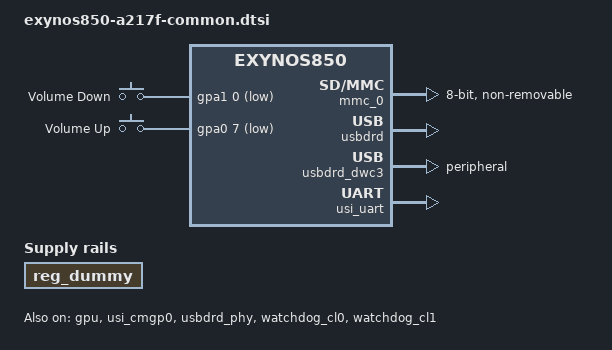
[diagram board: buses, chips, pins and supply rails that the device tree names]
// SPDX-License-Identifier: GPL-2.0
/*
 * Samsung Galaxy A21s Series device tree source
 *
 * Copyright (c) 2026, Thomas Turner <tturner@lineageos.org>
 */

/dts-v1/;
#include "exynos850.dtsi"
#include <dt-bindings/gpio/gpio.h>
#include <dt-bindings/input/input.h>

/ {
	chosen {
		#address-cells = <2>;
		#size-cells = <1>;
		ranges;

		bootargs = "clk_ignore_unused pd_ignore_unused regulator_ignore_unused";

		framebuffer0: framebuffer@fa000000 {
			compatible = "simple-framebuffer";
			reg = <0x0 0xfa000000 (720 * 1600 * 4)>;
			width = <720>;
			height = <1600>;
			stride = <(720 * 4)>;
			format = "a8r8g8b8";
		};
	};

	gpio-keys {
		compatible = "gpio-keys";

		pinctrl-0 = <&key_voldown &key_volup>;
		pinctrl-names = "default";

		voldown-key {
			label = "Volume Down";
			linux,code = <KEY_VOLUMEDOWN>;
			gpios = <&gpa1 0 GPIO_ACTIVE_LOW>;
		};

		volup-key {
			label = "Volume Up";
			linux,code = <KEY_VOLUMEUP>;
			gpios = <&gpa0 7 GPIO_ACTIVE_LOW>;
		};
	};

	/* TODO: Remove this once PMIC is implemented  */
	reg_dummy: regulator-0 {
		compatible = "regulator-fixed";
		regulator-name = "dummy_reg";
	};

	reserved-memory {
		#address-cells = <2>;
		#size-cells = <1>;
		ranges;

		ramoops@f0f10000 {
			compatible = "ramoops";
			reg = <0x0 0xf0f10000 0x8000>;
			record-size = <0x2000>;
			console-size = <0x4000>;
			ftrace-size = <0>;
			pmsg-size = <0x2000>;
		};

		cont_splash_mem: framebuffer@fa000000 {
			reg = <0x0 0xfa000000 (720 * 1600 * 4)>;
			no-map;
		};

		abox_reserved: audio@e9400000 {
			reg = <0x0 0xe9400000 0x400000>;
			no-map;
		};

	};

	rtcclk: clock-rtcclk {
		compatible = "fixed-clock";
		clock-output-names = "rtcclk";
		#clock-cells = <0>;
		clock-frequency = <32768>;
	};
};

&cmu_hsi {
	clocks = <&oscclk>, <&rtcclk>,
		 <&cmu_top CLK_DOUT_HSI_BUS>,
		 <&cmu_top CLK_DOUT_HSI_MMC_CARD>,
		 <&cmu_top CLK_DOUT_HSI_USB20DRD>;
	clock-names = "oscclk", "rtcclk", "dout_hsi_bus",
		      "dout_hsi_mmc_card", "dout_hsi_usb20drd";
};

&gpu {
	status = "okay";
};

&mmc_0 {
	status = "okay";
	compatible = "samsung,exynos7-dw-mshc";
	mmc-ddr-1_8v;
	mmc-hs200-1_8v;
	mmc-hs400-1_8v;
	cap-mmc-highspeed;
	non-removable;
	mmc-hs400-enhanced-strobe;
	card-detect-delay = <200>;
	clock-frequency = <800000000>;
	bus-width = <8>;
	samsung,dw-mshc-ciu-div = <3>;
	samsung,dw-mshc-sdr-timing = <0 4>;
	samsung,dw-mshc-ddr-timing = <2 4>;
	samsung,dw-mshc-hs400-timing = <0 2>;

	pinctrl-names = "default";
	pinctrl-0 = <&sd0_clk_pins &sd0_cmd_pins &sd0_rdqs_pins &sd0_nreset_pins
		     &sd0_bus1_pins &sd0_bus4_pins &sd0_bus8_pins>;
};

&oscclk {
	clock-frequency = <26000000>;
};

&pinctrl_alive {
	key_voldown: key-voldown-pins {
		samsung,pins = "gpa1-0";
		samsung,pin-function = <EXYNOS_PIN_FUNC_EINT>;
		samsung,pin-pud = <EXYNOS_PIN_PULL_NONE>;
		samsung,pin-drv = <EXYNOS5420_PIN_DRV_LV1>;
	};

	key_volup: key-volup-pins {
		samsung,pins = "gpa0-7";
		samsung,pin-function = <EXYNOS_PIN_FUNC_EINT>;
		samsung,pin-pud = <EXYNOS_PIN_PULL_NONE>;
		samsung,pin-drv = <EXYNOS5420_PIN_DRV_LV1>;
	};
};

&rtc {
	status = "disabled";
	clocks = <&cmu_apm CLK_GOUT_RTC_PCLK>, <&rtcclk>;
	clock-names = "rtc", "rtc_src";
};

&timer {
	clock-frequency = <26000000>;
};

&usi_cmgp0 {
	status = "okay";
};

&usbdrd {
	status = "okay";
	vdd10-supply = <&reg_dummy>;
	vdd33-supply = <&reg_dummy>;
};

&usbdrd_dwc3 {
	dr_mode = "peripheral";
	maximum-speed = "high-speed";
};

&usbdrd_phy {
	status = "okay";
	pinctrl-names = "default";
};

&usi_uart {
	status = "okay";
};

&watchdog_cl0 {
	status = "okay";
};

&watchdog_cl1 {
	status = "okay";
};
